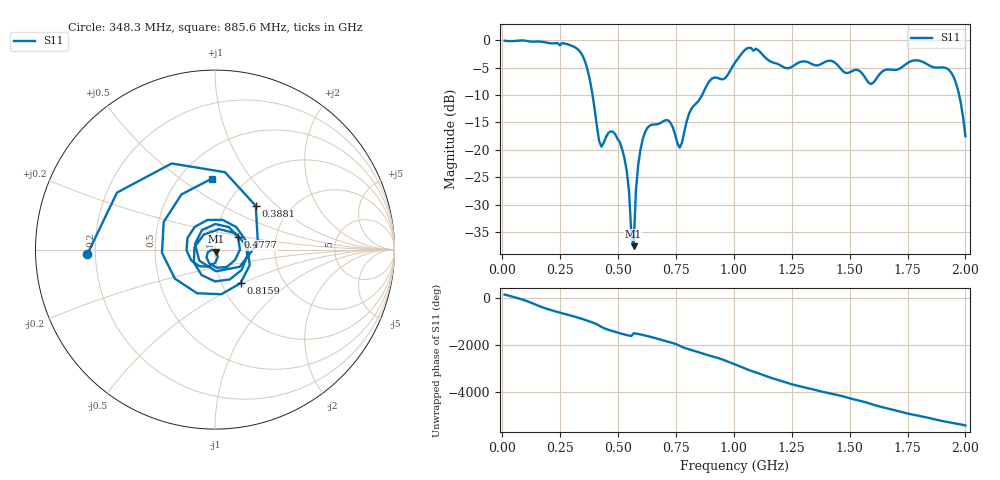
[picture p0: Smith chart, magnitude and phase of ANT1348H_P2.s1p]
!Created with skrf (http://scikit-rf.org).
# Hz S RI R 50.0
!freq ReS11 ImS11
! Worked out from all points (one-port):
!   201 points, 10 MHz to 2 GHz, reference 50 ohm
!   lowest |S11| = -37.6 dB at 567.2 MHz (marker M1), VSWR 1.03, Z = 50.6 - j1.17 ohm
!   |S11| at or under -10 dB: 389.7 MHz to 862.9 MHz (473.1 MHz wide, 75.5 % of centre); 1.973 GHz to end of sweep
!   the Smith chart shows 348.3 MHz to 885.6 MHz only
!   S11 on the Smith chart (normalised r, x): 348.3 MHz: 0.17, -0.02; 388.1 MHz: 1.35, +0.74; 477.6 MHz: 1.28, +0.18; 816 MHz: 1.23, -0.49; 885.6 MHz: 0.71, +0.66
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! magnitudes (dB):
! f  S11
! 10 MHz  -0.1
! 258.8 MHz  -0.5
! 348.3 MHz  -3.0
! 388.1 MHz  -9.5
! 427.9 MHz  -19.4
! 477.6 MHz  -16.7
! 507.5 MHz  -18.6
! 537.4 MHz  -23.8
! 547.3 MHz  -27.5
! 557.2 MHz  -35.3
! 567.2 MHz  -37.6
! 577.1 MHz  -27.4
! 587.1 MHz  -22.7
! 617 MHz  -16.7
! 716.5 MHz  -14.6
! 756.2 MHz  -18.8
! 776.1 MHz  -18.7
! 816 MHz  -12.6
! 885.6 MHz  -8.1
! 1.005 GHz  -4.1
! 1.075 GHz  -1.4
! 1.254 GHz  -4.8
! 1.502 GHz  -5.8
! 1.592 GHz  -8.0
! 1.751 GHz  -4.1
! 1.94 GHz  -6.0
! 1.97 GHz  -9.4
! 2 GHz  -17.5
